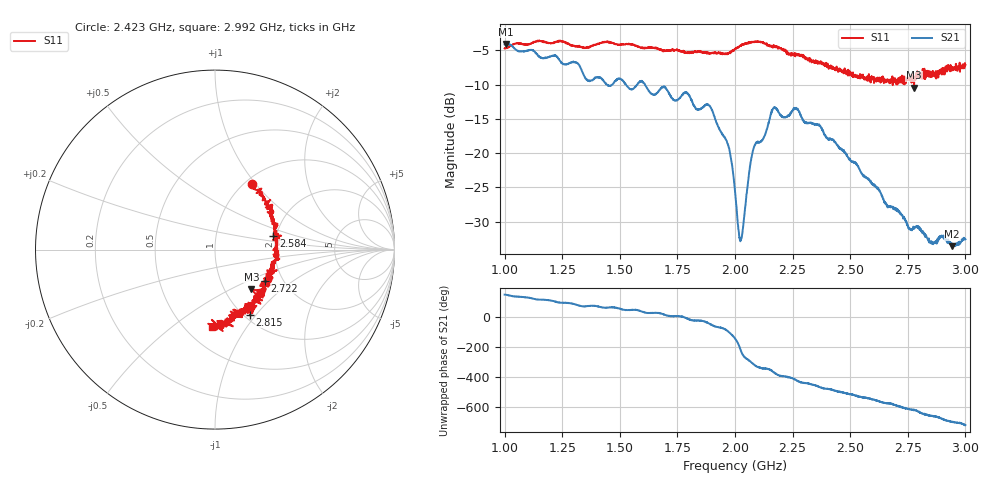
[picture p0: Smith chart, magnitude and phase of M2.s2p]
# HZ S RI R 50
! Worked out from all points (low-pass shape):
!   2020 points, 1 GHz to 3 GHz, reference 50 ohm
!   highest |S21| = -4.07 dB at 1.007 GHz (marker M1); lowest = -33.6 dB at 2.943 GHz (marker M2)
!   |S21| within 3 dB of the highest: start of sweep to 1.261 GHz; 1.269 GHz to 1.322 GHz (52.97 MHz wide, 4.09 % of centre)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
!   lowest |S11| = -10.5 dB at 2.777 GHz (marker M3), VSWR 1.85, Z = 66.5 - j32.2 ohm
!   |S11| at or under -10 dB: 2.684661 GHz to 2.685077 GHz (415.8 kHz wide, 0.0155 % of centre); 2.77682 GHz to 2.77744 GHz (619.8 kHz wide, 0.0223 % of centre)
!   S12 and S22 are empty: the file has one direction only
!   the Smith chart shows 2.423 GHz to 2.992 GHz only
!   S11 on the Smith chart (normalised r, x): 2.423 GHz: 1.07, +0.96; 2.584 GHz: 1.93, +0.32; 2.722 GHz: 1.62, -0.62; 2.815 GHz: 1.07, -0.93; 2.992 GHz: 0.67, -0.71
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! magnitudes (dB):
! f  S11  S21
! 1 GHz  -4.7  -4.2
! 1.007 GHz  -4.7  -4.1
! 1.334 GHz  -4.6  -7.9
! 1.668 GHz  -4.8  -11.0
! 1.893 GHz  -5.4  -13.2
! 1.971 GHz  -5.4  -18.9
! 2 GHz  -4.8  -25.8
! 2.016 GHz  -4.6  -31.4
! 2.027 GHz  -4.3  -32.5
! 2.078 GHz  -3.8  -19.6
! 2.168 GHz  -4.2  -13.4
! 2.265 GHz  -5.6  -13.4
! 2.334 GHz  -6.6  -15.7
! 2.423 GHz  -7.5  -18.0
! 2.584 GHz  -9.5  -23.9
! 2.667 GHz  -9.4  -27.8
! 2.722 GHz  -9.7  -29.0
! 2.777 GHz  -10.5  -30.9
! 2.815 GHz  -7.7  -31.4
! 2.943 GHz  -7.7  -33.6
! 2.992 GHz  -7.3  -32.7
! 3 GHz  -7.2  -32.6
